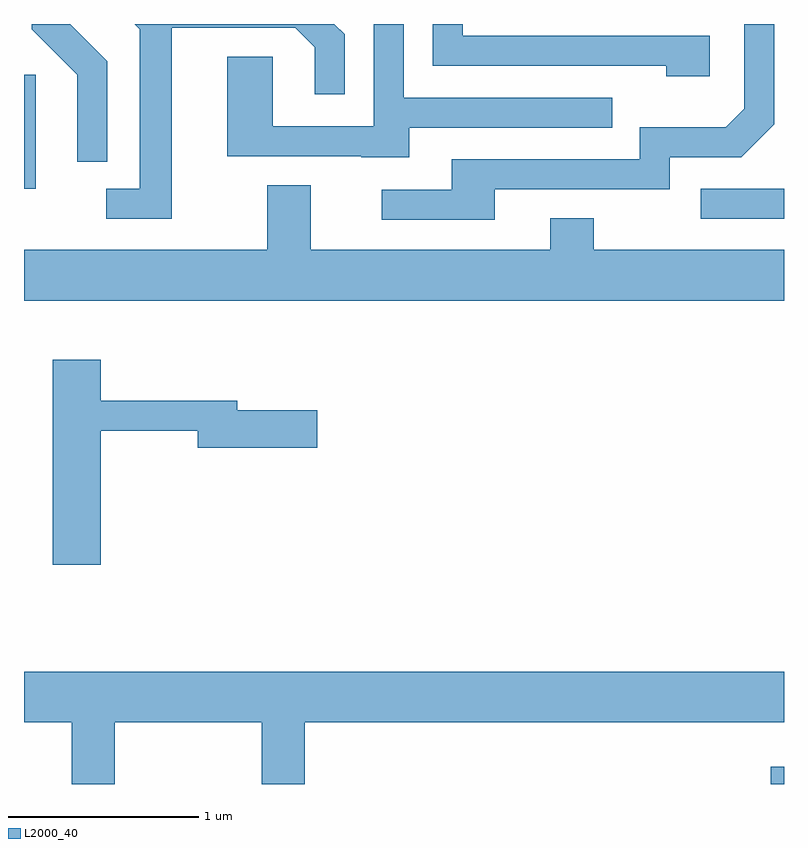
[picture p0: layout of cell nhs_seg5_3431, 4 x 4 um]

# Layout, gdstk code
import gdstk
lib = gdstk.Library(unit=1e-6, precision=1e-09)
def R(c, l, rs):  # rectangles x0, y0, x1, y1
    for r in rs: c.add(gdstk.rectangle(r[:2], r[2:], *l))
def P(c, l, *ps):  # polygons
    for p in ps: c.add(gdstk.Polygon(p, *l))
L2000_40 = (2000, 40)

nhs_seg5_3431 = lib.new_cell('nhs_seg5_3431')
R(nhs_seg5_3431, L2000_40, [(291.541,1412.072,291.611,1412.164), (291.173,1415.046,291.611,1415.204), (287.611,1415.206,287.674,1415.804)])
P(nhs_seg5_3431, L2000_40, [(288.049,1415.877),(287.854,1416.072),(287.651,1416.072),(287.651,1416.044),(287.891,1415.804),(287.891,1415.348),(288.049,1415.348)],
  [(291.219,1416.009),(289.919,1416.009),(289.919,1416.072),(289.761,1416.072),(289.761,1415.851),(290.991,1415.851),(290.991,1415.796),(291.219,1415.796)],
  [(288.389,1416.051),(289.039,1416.051),(289.141,1415.949),(289.141,1415.703),(289.299,1415.703),(289.299,1416.017),(289.244,1416.072),(288.193,1416.072),(288.221,1416.044),(288.221,1415.204),(288.043,1415.204),(288.043,1415.046),(288.389,1415.046)],
  [(289.639,1415.526),(290.708,1415.526),(290.708,1415.684),(289.609,1415.684),(289.609,1416.072),(289.451,1416.072),(289.451,1415.534),(288.919,1415.534),(288.919,1415.899),(288.681,1415.899),(288.681,1415.376),(289.385,1415.376),(289.385,1415.371),(289.639,1415.371)],
  [(290.089,1415.201),(291.009,1415.201),(291.009,1415.371),(291.387,1415.371),(291.559,1415.544),(291.559,1416.072),(291.401,1416.072),(291.401,1415.627),(291.304,1415.529),(290.851,1415.529),(290.851,1415.359),(289.861,1415.359),(289.861,1415.199),(289.493,1415.199),(289.493,1415.041),(290.089,1415.041)],
  [(291.611,1414.884),(290.609,1414.884),(290.609,1415.049),(290.381,1415.049),(290.381,1414.884),(289.119,1414.884),(289.119,1415.224),(288.891,1415.224),(288.891,1414.884),(287.611,1414.884),(287.611,1414.616),(291.611,1414.616)],
  [(288.014,1413.931),(288.526,1413.931),(288.526,1413.841),(289.154,1413.841),(289.154,1414.039),(288.734,1414.039),(288.734,1414.089),(288.014,1414.089),(288.014,1414.304),(287.761,1414.304),(287.761,1413.226),(288.014,1413.226)],
  [(288.089,1412.396),(288.861,1412.396),(288.861,1412.072),(289.089,1412.072),(289.089,1412.396),(291.611,1412.396),(291.611,1412.664),(287.611,1412.664),(287.611,1412.396),(287.861,1412.396),(287.861,1412.072),(288.089,1412.072)])

lib.write_gds('nhs_seg5_3431.gds')
